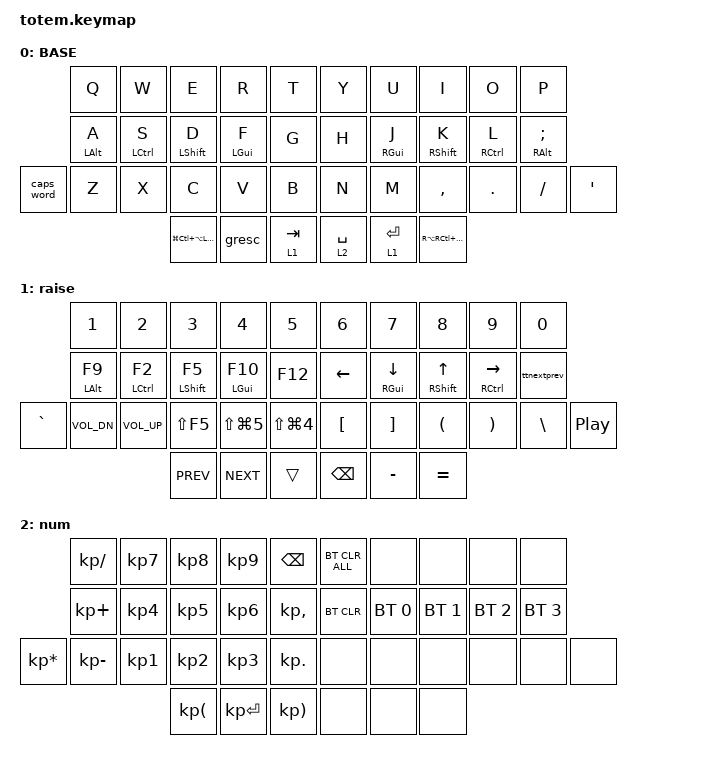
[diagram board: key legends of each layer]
//
//                                                        ▀▀▀▀▀     ▀▀▀▀▀          ▀▀█▀▀
//                                                        ▄▀▀▀▄  ▄  ▄▀▀▀▄  ▄  ▄▀▀▀▄  █  ▄▀▀▀▄
//                                                        █   █  █  █   █  █  █   █  █  █   █
//                                                         ▀▀▀   █   ▀▀▀   █   ▀▀▀   ▀   ▀▀▀
//                                                               █      ▄▄▄█▄▄▄    █   █  
//                                                               ▀      █  █  █     █▄█
//                                                             ▀▀▀▀▀    █  █  █      ▀
//                                                                      ▀  ▀  ▀
//
// ▄▄▄▄▄▄▄▄▄▄▄▄▄▄▄▄▄▄▄▄▄▄▄▄▄▄▄▄▄▄▄▄▄▄▄▄▄▄▄▄▄▄▄▄▄▄▄▄▄▄▄▄▄▄▄▄▄▄▄▄▄▄▄▄▄▄▄▄▄▄▄▄▄▄▄▄▄▄▄▄▄▄▄▄▄▄▄▄▄▄▄▄▄▄▄▄▄▄▄▄▄▄▄▄▄▄▄▄▄▄▄▄▄▄▄▄▄▄▄▄▄▄▄▄▄▄▄▄▄▄▄▄▄▄▄▄▄▄▄▄▄▄▄▄▄▄▄▄▄

#include <behaviors.dtsi>
#include <dt-bindings/zmk/bt.h>
#include <dt-bindings/zmk/keys.h>

#define BASE 0
#define NAV  1
#define SYM  2
#define ADJ  3
#define TVP1 4
#define TVP2 5

&mt {
    quick-tap-ms = <150>;
    global-quick-tap;
    flavor = "tap-preferred";
    tapping-term-ms = <200>;
    require-prior-idle-ms = <100>;
};

&gresc { keep-mods = <(MOD_LGUI|MOD_RSFT)>; };

/ {
    combos {
        compatible = "zmk,combos";

        combo_esc {
            timeout-ms = <50>;
            key-positions = <0 1>;
            bindings = <&kp ESC>;
        };

        combo_tvp {
            timeout-ms = <100>;
            key-positions = <11 12 13>;
            bindings = <&tog 0>;
        };
    };

    macros {
        gif: gif {
            label = "giphy";
            compatible = "zmk,behavior-macro";
            #binding-cells = <0>;
            bindings =
                <&macro_press>,
                <&kp LSHFT>,
                <&macro_tap>,
                <&kp N2>,
                <&macro_release>,
                <&kp LSHFT>,
                <&macro_tap>,
                <&kp G &kp I &kp F>;
        };
    };

    behaviors {
        ttnextprev: ttnextprev {
            compatible = "zmk,behavior-tap-dance";
            label = "TTNEXTPREV";
            #binding-cells = <0>;
            bindings = <&kp C_NEXT>, <&kp C_PREV>;
        };

        ttdasheql: ttdasheql {
            compatible = "zmk,behavior-tap-dance";
            label = "TTDASHEQL";
            #binding-cells = <0>;
            bindings = <&kp MINUS>, <&kp EQUAL>;
        };
    };

    keymap {
        compatible = "zmk,keymap";

        // ▄▄▄▄▄▄▄▄▄▄▄▄▄▄▄▄▄▄▄▄▄▄▄▄▄▄▄▄▄▄▄▄▄▄▄▄▄▄▄▄▄▄▄▄▄▄▄▄▄▄▄▄▄▄▄▄▄▄▄▄▄▄▄▄▄▄▄▄▄▄▄▄▄▄▄▄▄▄▄▄▄▄▄▄▄▄▄▄▄▄▄▄▄▄▄▄▄▄▄▄▄▄▄▄▄▄▄▄▄▄▄▄▄▄▄▄▄▄▄▄▄▄▄▄▄▄▄▄▄▄▄▄▄▄▄▄▄▄▄▄▄▄▄▄▄▄▄▄▄

        base_layer {
            // ┏━━━━━━━━━━━━━━━━━━━━━━━━━━━━━━━━━━━━━━━┓

            label = "BASE";

            // ┗━━━━━━━━━━━━━━━━━━━━━━━━━━━━━━━━━━━━━━━┛
            //             ┏━━━━━━━━━━━┳━━━━━━━━━━━┳━━━━━━━━━━━┳━━━━━━━━━━━┳━━━━━━━━━━━┓   ┏━━━━━━━━━━━┳━━━━━━━━━━━┳━━━━━━━━━━━┳━━━━━━━━━━━┳━━━━━━━━━━━┓
            //             ┃     Q     ┃     W     ┃     F     ┃     P     ┃     G     ┃   ┃     J     ┃     L     ┃     U     ┃     Y     ┃     ;     ┃
            //             ┣━━━━━━━━━━━╋━━━━━━━━━━━╋━━━━━━━━━━━╋━━━━━━━━━━━╋━━━━━━━━━━━┫   ┣━━━━━━━━━━━╋━━━━━━━━━━━╋━━━━━━━━━━━╋━━━━━━━━━━━╋━━━━━━━━━━━┫
            //             ┃     A     ┃     R     ┃     S     ┃     T     ┃     D     ┃   ┃     H     ┃     N     ┃     E     ┃     I     ┃     O     ┃
            // ┏━━━━━━━━━━━╋━━━━━━━━━━━╋━━━━━━━━━━━╋━━━━━━━━━━━╋━━━━━━━━━━━╋━━━━━━━━━━━┫   ┣━━━━━━━━━━━╋━━━━━━━━━━━╋━━━━━━━━━━━╋━━━━━━━━━━━╋━━━━━━━━━━━╋━━━━━━━━━━━┓
            // ┃     Q     ┃     Z     ┃     X     ┃     C     ┃     V     ┃     B     ┃   ┃     K     ┃     M     ┃     ,     ┃     .     ┃     /     ┃     \     ┃
            // ┗━━━━━━━━━━━┻━━━━━━━━━━━┻━━━━━━━━━━━╋━━━━━━━━━━━╋━━━━━━━━━━━╋━━━━━━━━━━━┫   ┣━━━━━━━━━━━╋━━━━━━━━━━━╋━━━━━━━━━━━╋━━━━━━━━━━━┻━━━━━━━━━━━┻━━━━━━━━━━━┛
            //                                     ┃    DEL    ┃    TAB    ┃    SPC    ┃   ┃   ENTER   ┃           ┃   BSPC    ┃
            //                                     ┗━━━━━━━━━━━┻━━━━━━━━━━━┻━━━━━━━━━━━┛   ┗━━━━━━━━━━━┻━━━━━━━━━━━┻━━━━━━━━━━━┛

            bindings = <
            &kp Q       &kp W        &kp E                  &kp R       &kp T        &kp Y        &kp U        &kp I               &kp O        &kp P
            &mt LALT A  &mt LCTRL S  &mt LSHFT D            &mt LGUI F  &kp G        &kp H        &mt RGUI J   &mt RSHFT K         &mt RCTRL L  &mt RALT SEMI
&caps_word  &kp Z       &kp X        &kp C                  &kp V       &kp B        &kp N        &kp M        &kp COMMA           &kp DOT      &kp FSLH       &kp SINGLE_QUOTE
                                     &kp LG(LC(LA(LSHFT)))  &gresc      &lt 1 TAB    &lt 2 SPACE  &lt 1 ENTER  &kp RA(RC(RSHIFT))
            >;
        };

        // ▄▄▄▄▄▄▄▄▄▄▄▄▄▄▄▄▄▄▄▄▄▄▄▄▄▄▄▄▄▄▄▄▄▄▄▄▄▄▄▄▄▄▄▄▄▄▄▄▄▄▄▄▄▄▄▄▄▄▄▄▄▄▄▄▄▄▄▄▄▄▄▄▄▄▄▄▄▄▄▄▄▄▄▄▄▄▄▄▄▄▄▄▄▄▄▄▄▄▄▄▄▄▄▄▄▄▄▄▄▄▄▄▄▄▄▄▄▄▄▄▄▄▄▄▄▄▄▄▄▄▄▄▄▄▄▄▄▄▄▄▄▄▄▄▄▄▄▄▄

        raise_layer {
            // ┏━━━━━━━━━━━━━━━━━━━━━━━━━━━━━━━━━━━━━━━┓

            label = "raise";

            // ┗━━━━━━━━━━━━━━━━━━━━━━━━━━━━━━━━━━━━━━━┛
            //             ┏━━━━━━━━━━━┳━━━━━━━━━━━┳━━━━━━━━━━━┳━━━━━━━━━━━┳━━━━━━━━━━━┓   ┏━━━━━━━━━━━┳━━━━━━━━━━━┳━━━━━━━━━━━┳━━━━━━━━━━━┳━━━━━━━━━━━┓
            //             ┃           ┃           ┃     UP    ┃           ┃     {     ┃   ┃     }     ┃     7     ┃     8     ┃     9     ┃     +     ┃
            //             ┣━━━━━━━━━━━╋━━━━━━━━━━━╋━━━━━━━━━━━╋━━━━━━━━━━━╋━━━━━━━━━━━┫   ┣━━━━━━━━━━━╋━━━━━━━━━━━╋━━━━━━━━━━━╋━━━━━━━━━━━╋━━━━━━━━━━━┫
            //             ┃   SHIFT   ┃   LEFT    ┃    DOWN   ┃   RIGHT   ┃     [     ┃   ┃     ]     ┃     4     ┃     5     ┃     6     ┃     -     ┃
            // ┏━━━━━━━━━━━╋━━━━━━━━━━━╋━━━━━━━━━━━╋━━━━━━━━━━━╋━━━━━━━━━━━╋━━━━━━━━━━━┫   ┣━━━━━━━━━━━╋━━━━━━━━━━━╋━━━━━━━━━━━╋━━━━━━━━━━━╋━━━━━━━━━━━╋━━━━━━━━━━━┓
            // ┃           ┃           ┃   P UP    ┃  C LOCK   ┃  P DOWN   ┃     (     ┃   ┃     )     ┃     1     ┃     2     ┃     3     ┃     *     ┃           ┃
            // ┗━━━━━━━━━━━┻━━━━━━━━━━━┻━━━━━━━━━━━╋━━━━━━━━━━━╋━━━━━━━━━━━╋━━━━━━━━━━━┫   ┣━━━━━━━━━━━╋━━━━━━━━━━━╋━━━━━━━━━━━╋━━━━━━━━━━━┻━━━━━━━━━━━┻━━━━━━━━━━━┛
            //                                     ┃           ┃    TAB    ┃    SPC    ┃   ┃    DEL    ┃     0     ┃           ┃
            //                                     ┗━━━━━━━━━━━┻━━━━━━━━━━━┻━━━━━━━━━━━┛   ┗━━━━━━━━━━━┻━━━━━━━━━━━┻━━━━━━━━━━━┛

            bindings = <
           &kp NUMBER_1  &kp NUMBER_2  &kp NUMBER_3  &kp NUMBER_4    &kp NUMBER_5            &kp NUMBER_6      &kp N7             &kp N8        &kp NUMBER_9     &kp N0
           &mt LALT F9   &mt LCTRL F2  &mt LSHFT F5  &mt LGUI F10    &kp F12                 &kp LEFT          &mt RGUI DOWN      &mt RSHFT UP  &mt RCTRL RIGHT  &ttnextprev
&kp GRAVE  &kp C_VOL_DN  &kp C_VOL_UP  &kp LS(F5)    &kp LS(LG(N5))  &kp LS(LG(NUMBER_4))    &kp LEFT_BRACKET  &kp RIGHT_BRACKET  &kp LPAR      &kp RPAR         &kp BACKSLASH  &kp C_PP
                                       &kp C_PREV    &kp C_NEXT      &trans                  &kp BACKSPACE     &kp MINUS          &kp EQUAL
            >;
        };

        // ▄▄▄▄▄▄▄▄▄▄▄▄▄▄▄▄▄▄▄▄▄▄▄▄▄▄▄▄▄▄▄▄▄▄▄▄▄▄▄▄▄▄▄▄▄▄▄▄▄▄▄▄▄▄▄▄▄▄▄▄▄▄▄▄▄▄▄▄▄▄▄▄▄▄▄▄▄▄▄▄▄▄▄▄▄▄▄▄▄▄▄▄▄▄▄▄▄▄▄▄▄▄▄▄▄▄▄▄▄▄▄▄▄▄▄▄▄▄▄▄▄▄▄▄▄▄▄▄▄▄▄▄▄▄▄▄▄▄▄▄▄▄▄▄▄▄▄▄▄

        num_layer {
            // ┏━━━━━━━━━━━━━━━━━━━━━━━━━━━━━━━━━━━━━━━┓

            label = "num";

            // ┗━━━━━━━━━━━━━━━━━━━━━━━━━━━━━━━━━━━━━━━┛
            //             ┏━━━━━━━━━━━┳━━━━━━━━━━━┳━━━━━━━━━━━┳━━━━━━━━━━━┳━━━━━━━━━━━┓   ┏━━━━━━━━━━━┳━━━━━━━━━━━┳━━━━━━━━━━━┳━━━━━━━━━━━┳━━━━━━━━━━━┓
            //             ┃     !     ┃     @     ┃     #     ┃     $     ┃     %     ┃   ┃     ˆ     ┃     &     ┃     Ü     ┃     '     ┃     "     ┃
            //             ┣━━━━━━━━━━━╋━━━━━━━━━━━╋━━━━━━━━━━━╋━━━━━━━━━━━╋━━━━━━━━━━━┫   ┣━━━━━━━━━━━╋━━━━━━━━━━━╋━━━━━━━━━━━╋━━━━━━━━━━━╋━━━━━━━━━━━┫
            //             ┃     Ä     ┃           ┃    SZ     ┃           ┃           ┃   ┃   MUTE    ┃   YEN     ┃   EURO    ┃  POUND    ┃     Ö     ┃
            // ┏━━━━━━━━━━━╋━━━━━━━━━━━╋━━━━━━━━━━━╋━━━━━━━━━━━╋━━━━━━━━━━━╋━━━━━━━━━━━┫   ┣━━━━━━━━━━━╋━━━━━━━━━━━╋━━━━━━━━━━━╋━━━━━━━━━━━╋━━━━━━━━━━━╋━━━━━━━━━━━┓
            // ┃           ┃  EMAIL1   ┃  EMAIL2   ┃           ┃           ┃           ┃   ┃   VOL-    ┃   VOL+    ┃   LAST    ┃   NEXT    ┃     \     ┃           ┃
            // ┗━━━━━━━━━━━┻━━━━━━━━━━━┻━━━━━━━━━━━╋━━━━━━━━━━━╋━━━━━━━━━━━╋━━━━━━━━━━━┫   ┣━━━━━━━━━━━╋━━━━━━━━━━━╋━━━━━━━━━━━╋━━━━━━━━━━━┻━━━━━━━━━━━┻━━━━━━━━━━━┛
            //                                     ┃           ┃    GIF    ┃    ADJ    ┃   ┃           ┃           ┃           ┃
            //                                     ┗━━━━━━━━━━━┻━━━━━━━━━━━┻━━━━━━━━━━━┛   ┗━━━━━━━━━━━┻━━━━━━━━━━━┻━━━━━━━━━━━┛

            bindings = <
                 &kp KP_DIVIDE  &kp KP_NUMBER_7  &kp KP_NUMBER_8          &kp KP_NUMBER_9  &kp BACKSPACE               &bt BT_CLR_ALL  &none         &none         &none         &none
                 &kp KP_PLUS    &kp KP_NUMBER_4  &kp KP_NUMBER_5          &kp KP_NUMBER_6  &kp KP_COMMA                &bt BT_CLR      &bt BT_SEL 0  &bt BT_SEL 1  &bt BT_SEL 2  &bt BT_SEL 3
&kp KP_MULTIPLY  &kp KP_MINUS   &kp KP_NUMBER_1  &kp KP_NUMBER_2          &kp KP_NUMBER_3  &kp KP_DOT                  &none           &none         &none         &none         &none         &none
                                                 &kp KP_LEFT_PARENTHESIS  &kp KP_ENTER     &kp KP_RIGHT_PARENTHESIS    &none           &none         &none
            >;
        };

        // ▄▄▄▄▄▄▄▄▄▄▄▄▄▄▄▄▄▄▄▄▄▄▄▄▄▄▄▄▄▄▄▄▄▄▄▄▄▄▄▄▄▄▄▄▄▄▄▄▄▄▄▄▄▄▄▄▄▄▄▄▄▄▄▄▄▄▄▄▄▄▄▄▄▄▄▄▄▄▄▄▄▄▄▄▄▄▄▄▄▄▄▄▄▄▄▄▄▄▄▄▄▄▄▄▄▄▄▄▄▄▄▄▄▄▄▄▄▄▄▄▄▄▄▄▄▄▄▄▄▄▄▄▄▄▄▄▄▄▄▄▄▄▄▄▄▄▄▄▄
        // ▄▄▄▄▄▄▄▄▄▄▄▄▄▄▄▄▄▄▄▄▄▄▄▄▄▄▄▄▄▄▄▄▄▄▄▄▄▄▄▄▄▄▄▄▄▄▄▄▄▄▄▄▄▄▄▄▄▄▄▄▄▄▄▄▄▄▄▄▄▄▄▄▄▄▄▄▄▄▄▄▄▄▄▄▄▄▄▄▄▄▄▄▄▄▄▄▄▄▄▄▄▄▄▄▄▄▄▄▄▄▄▄▄▄▄▄▄▄▄▄▄▄▄▄▄▄▄▄▄▄▄▄▄▄▄▄▄▄▄▄▄▄▄▄▄▄▄▄▄
        // ▄▄▄▄▄▄▄▄▄▄▄▄▄▄▄▄▄▄▄▄▄▄▄▄▄▄▄▄▄▄▄▄▄▄▄▄▄▄▄▄▄▄▄▄▄▄▄▄▄▄▄▄▄▄▄▄▄▄▄▄▄▄▄▄▄▄▄▄▄▄▄▄▄▄▄▄▄▄▄▄▄▄▄▄▄▄▄▄▄▄▄▄▄▄▄▄▄▄▄▄▄▄▄▄▄▄▄▄▄▄▄▄▄▄▄▄▄▄▄▄▄▄▄▄▄▄▄▄▄▄▄▄▄▄▄▄▄▄▄▄▄▄▄▄▄▄▄▄▄
    };
};
